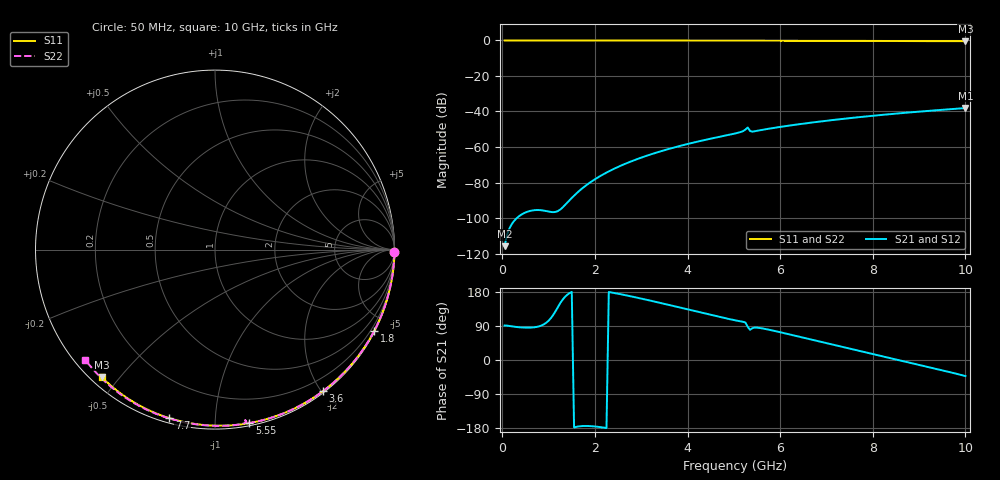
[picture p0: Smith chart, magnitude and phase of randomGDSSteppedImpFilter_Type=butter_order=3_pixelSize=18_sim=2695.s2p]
! freq	dB(S11)	phase(S11)	dB(S12)	phase(S12)
!  dB(S21)	phase(S21)	dB(S22)	phase(S22)
!S-par simulation data
#  GHz  S  DB  R 50
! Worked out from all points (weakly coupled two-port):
!   200 points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, 50 MHz to 10 GHz, reference 50 ohm
!   highest |S21| = -38.07 dB at 10 GHz (marker M1); lowest = -115.8 dB at 50 MHz (marker M2)
!   lowest |S11| = -0.4 dB at 10 GHz (marker M3), VSWR 39.00, Z = 1.54 - j22.5 ohm
!   |S11| at or under -10 dB: nowhere
!   |S22| runs from -0.5 to 0.0 dB; largest |S21 - S12| = 0
!   S11 on the Smith chart (normalised r, x): 50 MHz: open; 1.8 GHz: 0.04, -4.17; 3.6 GHz: 0.02, -2.02; 5.55 GHz: 0.02, -1.22; 7.7 GHz: 0.02, -0.76; 10 GHz: 0.03, -0.45
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0.05  -0.00 -0.8  -115.85 91.0  -115.85 91.0  -0.00 -0.8
0.9  -0.02 -13.6  -95.83 94.3  -95.83 94.3  -0.02 -14.4
1.75  -0.03 -26.2  -82.79 -174.2  -82.79 -174.2  -0.04 -27.7
1.8  -0.03 -27.0  -81.78 -174.0  -81.78 -174.0  -0.04 -28.5
1.9  -0.04 -28.4  -79.90 -174.4  -79.90 -174.4  -0.04 -30.0
2.25  -0.04 -33.5  -74.40 -179.6  -74.40 -179.6  -0.05 -35.4
2.65  -0.05 -39.3  -69.50 171.3  -69.50 171.3  -0.05 -41.5
3  -0.06 -44.3  -65.99 162.1  -65.99 162.1  -0.06 -46.8
3.4  -0.07 -49.9  -62.58 151.0  -62.58 151.0  -0.07 -52.7
3.6  -0.07 -52.7  -61.06 145.3  -61.06 145.3  -0.07 -55.6
4.2  -0.09 -61.0  -57.06 128.0  -57.06 128.0  -0.09 -64.3
5.05  -0.11 -72.3  -52.26 104.1  -52.26 104.1  -0.12 -76.4
5.2  -0.12 -74.2  -51.04 100.8  -51.04 100.8  -0.14 -78.6
5.3  -0.12 -75.5  -49.02 87.5  -49.02 87.5  -0.31 -80.0
5.35  -0.12 -76.2  -50.99 79.6  -50.99 79.6  -0.22 -79.7
5.4  -0.12 -76.8  -51.35 84.1  -51.35 84.1  -0.16 -80.5
5.55  -0.13 -78.8  -50.64 84.7  -50.64 84.7  -0.14 -82.8
6.7  -0.18 -93.2  -46.18 53.2  -46.18 53.2  -0.19 -98.1
7.7  -0.24 -105.2  -43.20 24.3  -43.20 24.3  -0.25 -110.8
8.35  -0.29 -112.8  -41.55 5.6  -41.55 5.6  -0.30 -118.9
9.2  -0.36 -122.5  -39.65 -18.6  -39.65 -18.6  -0.38 -129.4
10  -0.45 -131.6  -38.07 -42.4  -38.07 -42.4  -0.46 -139.6
